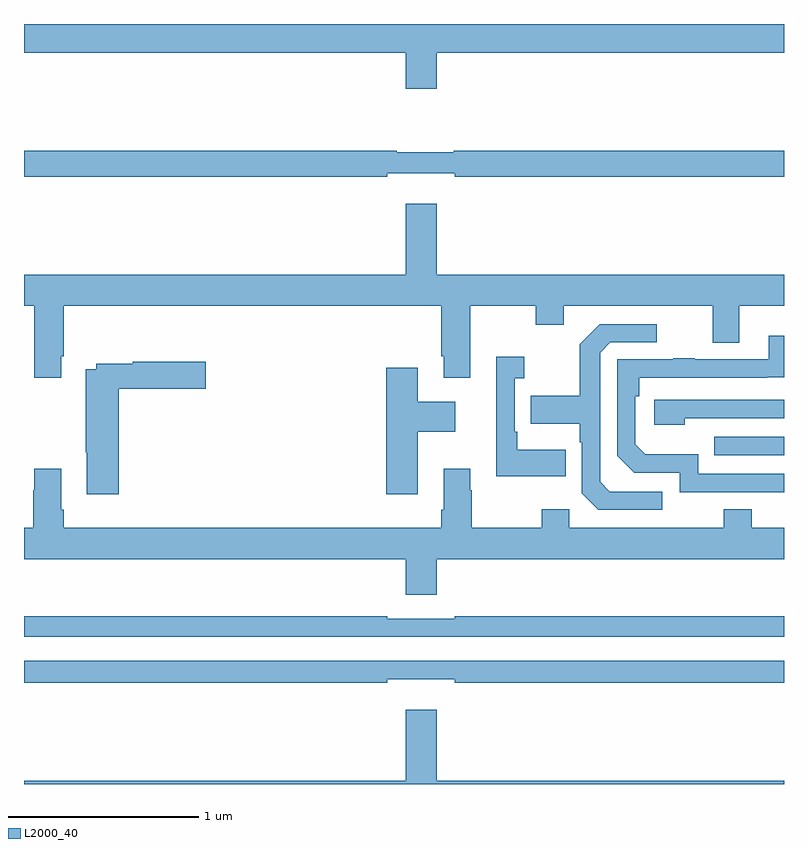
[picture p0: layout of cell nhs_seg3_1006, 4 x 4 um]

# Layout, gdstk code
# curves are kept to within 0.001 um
import gdstk
lib = gdstk.Library(unit=1e-6, precision=1e-09)
def R(c, l, rs):  # rectangles x0, y0, x1, y1
    for r in rs: c.add(gdstk.rectangle(r[:2], r[2:], *l))
def P(c, l, *ps):  # polygons
    for p in ps: c.add(gdstk.Polygon(p, *l))
L2000_40 = (2000, 40)

nhs_seg3_1006 = lib.new_cell('nhs_seg3_1006')
R(nhs_seg3_1006, L2000_40, [(166.633,700.131,167,700.227)])
P(nhs_seg3_1006, L2000_40, [(165.172,702.248),(167,702.248),(167,702.4),(163,702.4),(163,702.248),(165.008,702.248),(165.008,702.06),(165.172,702.06)],
  [(164.912,701.615),(165.268,701.615),(165.268,701.596),(167,701.596),(167,701.732),(165.262,701.732),(165.262,701.725),(164.962,701.725),(164.962,701.732),(163,701.732),(163,701.596),(164.912,701.596)],
  [(163.195,700.651),(163.208,700.651),(163.208,700.916),(165.197,700.916),(165.197,700.651),(165.209,700.651),(165.209,700.539),(165.349,700.539),(165.349,700.916),(165.694,700.916),(165.694,700.817),(165.841,700.817),(165.841,700.916),(166.625,700.916),(166.625,700.722),(166.765,700.722),(166.765,700.916),(167,700.916),(167,701.08),(165.172,701.08),(165.172,701.455),(165.008,701.455),(165.008,701.08),(163,701.08),(163,700.916),(163.055,700.916),(163.055,700.539),(163.195,700.539)],
  [(166.36,699.939),(166.083,699.939),(166.032,699.99),(166.032,700.671),(166.086,700.725),(166.33,700.725),(166.33,700.821),(166.029,700.821),(165.924,700.715),(165.924,700.443),(165.667,700.443),(165.667,700.295),(165.924,700.295),(165.924,700.199),(165.936,700.199),(165.936,699.93),(166.023,699.843),(166.36,699.843)],
  [(167,700.032),(166.548,700.032),(166.548,700.135),(166.271,700.135),(166.218,700.188),(166.218,700.442),(166.238,700.442),(166.238,700.539),(167,700.54),(167,700.759),(166.919,700.759),(166.919,700.635),(166.529,700.635),(166.529,700.64),(166.417,700.64),(166.417,700.635),(166.122,700.635),(166.122,700.128),(166.212,700.038),(166.452,700.038),(166.452,699.936),(167,699.936)],
  [(165.851,700.159),(165.595,700.159),(165.595,700.255),(165.582,700.255),(165.582,700.535),(165.634,700.535),(165.634,700.648),(165.485,700.648),(165.485,700.019),(165.851,700.019)],
  [(163.499,700.481),(163.957,700.481),(163.957,700.623),(163.572,700.623),(163.572,700.611),(163.38,700.611),(163.38,700.582),(163.324,700.582),(163.324,700.147),(163.331,700.147),(163.331,699.924),(163.499,699.924)],
  [(165.073,700.253),(165.271,700.253),(165.271,700.411),(165.073,700.411),(165.073,700.591),(164.906,700.591),(164.906,699.924),(165.073,699.924)],
  [(166.478,700.326),(167,700.326),(167,700.422),(166.317,700.422),(166.317,700.292),(166.478,700.292)],
  [(165.172,699.584),(167,699.584),(167,699.748),(166.831,699.748),(166.831,699.847),(166.684,699.847),(166.684,699.748),(165.87,699.748),(165.87,699.847),(165.724,699.847),(165.724,699.748),(165.357,699.748),(165.357,699.947),(165.349,699.947),(165.349,700.06),(165.209,700.06),(165.209,699.844),(165.197,699.844),(165.197,699.748),(163.208,699.748),(163.208,699.844),(163.195,699.844),(163.195,700.06),(163.055,700.06),(163.055,699.947),(163.048,699.947),(163.048,699.748),(163,699.748),(163,699.584),(165.008,699.584),(165.008,699.396),(165.172,699.396)],
  [(167,699.283),(165.268,699.283),(165.268,699.27),(164.912,699.27),(164.912,699.283),(163,699.283),(163,699.174),(167,699.174)],
  [(164.912,698.951),(165.268,698.951),(165.268,698.932),(167,698.932),(167,699.048),(163,699.048),(163,698.932),(164.912,698.932)],
  [(167,698.416),(165.172,698.416),(165.172,698.791),(165.008,698.791),(165.008,698.416),(163,698.416),(163,698.4),(167,698.4)])

lib.write_gds('nhs_seg3_1006.gds')
